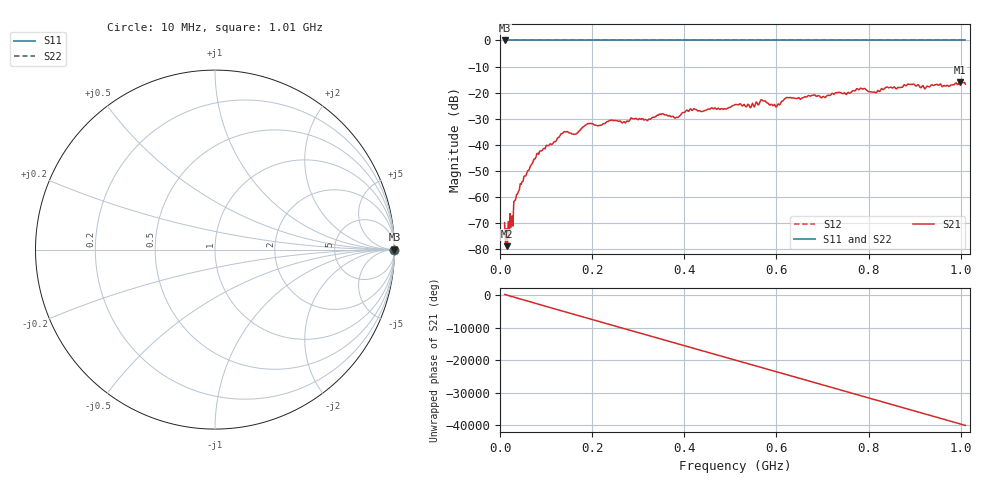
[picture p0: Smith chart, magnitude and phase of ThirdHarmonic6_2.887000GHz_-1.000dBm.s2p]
! 8/17/2025 7:56:19 AM
! C:\ANRITSUVNA\TEMP\TEMP.S2P
! CHANNEL.1
! TR.MEASUREMENT
! RAW.DATA
! RF.CORRECTION.OFF
! AVERAGING.OFF
! IF.BANDWIDTH: 5KHZ
! SWEEPTYPE:  FREQ.SWEEP(Linear)
! Reference Plane Port Info
! PORT:  PORT1  PORT2
! DISTANCE:  0  m  0  m
! TIME:  0  s  0  s
! PHASE.OFFSET:  0  deg.  0  deg.
! LOSS:  0  dB  0  dB
! REF.LOSS:  0  dB  0  dB
! REF.FREQ:  0  Hz  0  Hz
! Power Info
! POWER:  -20  dBm  -20  dBm
! EFF.POWER:  -20  dBm  -20  dBm
! SOURCE.ATTEN:  0  dB  0  dB
! TEST.ATTEN:  0  dB  0  dB
# GHZ S RI R 50.0
! FREQ.GHZ  S11RE  S11IM  S21RE  S21IM  S12RE  S12IM  S22RE  S22IM
!; PortSelection: Port_12
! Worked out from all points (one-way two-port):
!   501 points, 10 MHz to 1.01 GHz, reference 50 ohm
!   highest |S21| = -15.87 dB at 998 MHz (marker M1); lowest = -78.9 dB at 16 MHz (marker M2)
!   lowest |S11| = 0.0 dB at 10 MHz (marker M3)
!   |S11| at or under -10 dB: nowhere
!   |S22| runs from 0.0 to 0.0 dB; largest |S21 - S12| = 1.2
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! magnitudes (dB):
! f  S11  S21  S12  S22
! 10 MHz  0.0  -69.9  0.0  0.0
! 16 MHz  0.0  -78.9  0.0  0.0
! 22 MHz  0.0  -66.4  0.0  0.0
! 24 MHz  0.0  -71.6  0.0  0.0
! 34 MHz  0.0  -60.9  0.0  0.0
! 78 MHz  0.0  -44.7  0.0  0.0
! 136 MHz  0.0  -35.6  0.0  0.0
! 164 MHz  0.0  -35.9  0.0  0.0
! 178 MHz  0.0  -33.6  0.0  0.0
! 344 MHz  0.0  -28.7  0.0  0.0
! 382 MHz  0.0  -29.5  0.0  0.0
! 410 MHz  0.0  -27.1  0.0  0.0
! 510 MHz  0.0  -24.6  0.0  0.0
! 548 MHz  0.0  -24.0  0.0  0.0
! 570 MHz  0.0  -23.0  0.0  0.0
! 602 MHz  0.0  -24.7  0.0  0.0
! 622 MHz  0.0  -21.9  0.0  0.0
! 678 MHz  0.0  -21.1  0.0  0.0
! 814 MHz  0.0  -19.9  0.0  0.0
! 844 MHz  0.0  -18.2  0.0  0.0
! 998 MHz  0.0  -15.9  0.0  0.0
! 1.01 GHz  0.0  -16.7  0.0  0.0
